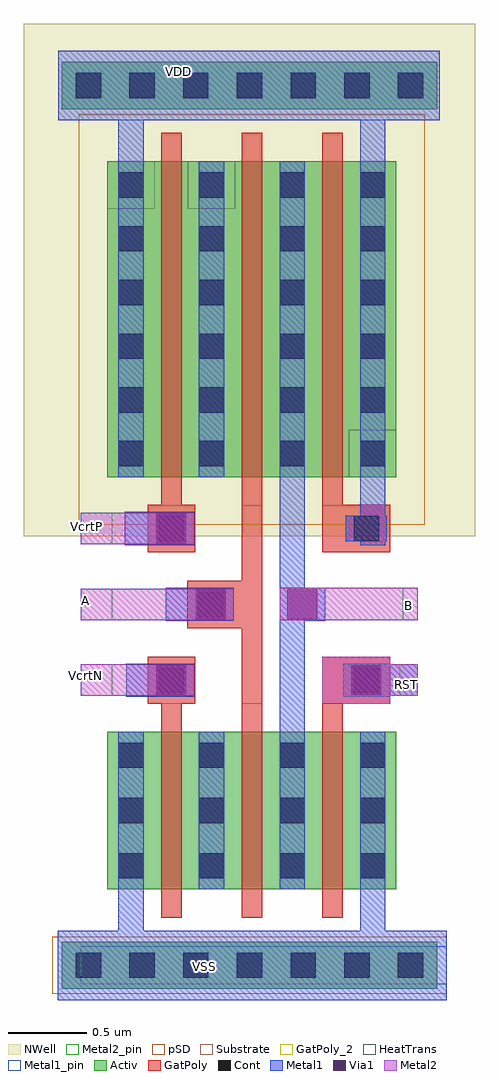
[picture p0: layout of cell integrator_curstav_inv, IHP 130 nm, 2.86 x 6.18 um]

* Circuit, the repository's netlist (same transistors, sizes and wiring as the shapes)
** sch_path: /foss/designs/chipathon_2025/designs/ihp-sg13g2/integrator_curstav_inv/xschem/integrator_curstav_inv.sch
.subckt integrator_curstav_inv VDD VcrtP A B VcrtN VSS RST
*.PININFO VDD:I VSS:I A:I B:O VcrtP:I VcrtN:I RST:I
M1 B A net2 VSS sg13_lv_nmos w=1.0u l=0.13u ng=1 m=1
M2 net2 VcrtN VSS VSS sg13_lv_nmos w=1.0u l=0.13u ng=1 m=1
M3 B A net1 VDD sg13_lv_pmos w=2u l=0.13u ng=1 m=1
M4 net1 VcrtP VDD VDD sg13_lv_pmos w=2u l=0.13u ng=1 m=1
M5 B VDD VDD VDD sg13_lv_pmos w=2u l=0.13u ng=1 m=1
M6 B RST VSS VSS sg13_lv_nmos w=1.0u l=0.13u ng=1 m=1
.ends

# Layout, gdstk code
from math import pi, radians
import gdstk
lib = gdstk.Library(unit=1e-6, precision=1e-09)
def R(c, l, rs):  # rectangles x0, y0, x1, y1
    for r in rs: c.add(gdstk.rectangle(r[:2], r[2:], *l))
def A(c, l, x, y, w, h, nx, ny, dx, dy):  # array of equal rectangles
    R(c, l, [(x+i*dx, y+j*dy, x+i*dx+w, y+j*dy+h) for i in range(nx) for j in range(ny)])
Activ = (1, 0)
GatPoly = (5, 0)
GatPoly_2 = (5, 2)
Cont = (6, 0)
Metal1 = (8, 0)
Metal1_pin = (8, 2)
Metal2 = (10, 0)
Metal2_pin = (10, 2)
pSD = (14, 0)
Via1 = (19, 0)
NWell = (31, 0)
Substrate = (40, 0)
HeatTrans = (51, 0)

via_stack_8 = lib.new_cell('via_stack$8')
R(via_stack_8, Metal1, [(-0.145,-0.105,0.145,0.105)])
R(via_stack_8, Metal2, [(-0.145,-0.1,0.145,0.1)])
R(via_stack_8, Via1, [(-0.095,-0.095,0.095,0.095)])

nmos_3 = lib.new_cell('nmos$3')
R(nmos_3, Activ, [(0,0,0.3,0.3), (0,0,0.81,1), (0.51,0,0.81,0.3)])
R(nmos_3, GatPoly, [(0.34,-0.18,0.47,1.18)])
R(nmos_3, GatPoly_2, [(0.34,-0.18,0.47,1.18)])
A(nmos_3, Cont, 0.07, 0.07, 0.16, 0.16, 1, 3, 0, 0.35)
A(nmos_3, Cont, 0.58, 0.07, 0.16, 0.16, 1, 3, 0, 0.35)
R(nmos_3, Metal1, [(0.07,0,0.23,1), (0.58,0,0.74,1)])
R(nmos_3, Metal1_pin, [(0.07,0,0.23,1), (0.58,0,0.74,1)])
R(nmos_3, HeatTrans, [(0.34,-0.18,0.47,1.18)])
nmos_3.add(gdstk.Label('nmos', (0.405,0.5), layer=63, texttype=0))
nmos_3.add(gdstk.Label('nmos', (0.405,0.5), layer=51, texttype=0))

via_stack_10 = lib.new_cell('via_stack$10')
R(via_stack_10, GatPoly, [(-0.15,-0.15,0.15,0.15)])
R(via_stack_10, Cont, [(-0.08,-0.08,0.08,0.08)])
R(via_stack_10, Metal1, [(-0.145,-0.105,0.145,0.105)])
R(via_stack_10, Metal2, [(-0.145,-0.1,0.145,0.1)])
R(via_stack_10, Via1, [(-0.095,-0.095,0.095,0.095)])

pmos_3 = lib.new_cell('pmos$3')
R(pmos_3, Activ, [(0,0,0.3,0.3), (0,0,0.81,2), (0.51,0,0.81,0.3)])
R(pmos_3, GatPoly, [(0.34,-0.18,0.47,2.18), (0.34,-0.18,0.47,2.18)])
A(pmos_3, Cont, 0.07, 0.07, 0.16, 0.16, 1, 6, 0, 0.34)
A(pmos_3, Cont, 0.58, 0.07, 0.16, 0.16, 1, 6, 0, 0.34)
R(pmos_3, Metal1, [(0.07,0,0.23,2), (0.07,0,0.23,2), (0.58,0,0.74,2), (0.58,0,0.74,2)])
R(pmos_3, pSD, [(-0.18,-0.3,0.99,2.3)])
R(pmos_3, NWell, [(-0.31,-0.31,1.12,2.31)])
R(pmos_3, Substrate, [(0.51,0,0.81,0.3)])
R(pmos_3, HeatTrans, [(0.34,-0.18,0.47,2.18)])
pmos_3.add(gdstk.Label('pmos', (0.405,1), layer=63, texttype=0))
pmos_3.add(gdstk.Label('pmos', (0.405,1), layer=51, texttype=0))

via_stack_9 = lib.new_cell('via_stack$9')
R(via_stack_9, GatPoly, [(-0.15,-0.15,0.15,0.15)])
R(via_stack_9, Cont, [(-0.08,-0.08,0.08,0.08)])
R(via_stack_9, Metal1, [(-0.145,-0.105,0.145,0.105)])
R(via_stack_9, Metal2, [(-0.145,-0.1,0.145,0.1)])
R(via_stack_9, Via1, [(-0.095,-0.095,0.095,0.095)])

via_stack = lib.new_cell('via_stack')
R(via_stack, GatPoly, [(-0.15,-0.15,0.15,0.15)])
R(via_stack, Cont, [(-0.08,-0.08,0.08,0.08)])
R(via_stack, Metal1, [(-0.13,-0.08,0.13,0.08)])

integrator_curstav_inv = lib.new_cell('integrator_curstav_inv')
R(integrator_curstav_inv, Activ, [(0.295,0.05,2.675,0.35), (0.295,5.62,2.675,5.92)])
R(integrator_curstav_inv, GatPoly, [(1.435,1.85,1.565,3.11), (1.945,1.86,2.075,2.155), (1.39,2.335,1.435,2.635), (1.945,2.815,2.075,3.11)])
A(integrator_curstav_inv, Cont, 0.385, 0.12, 0.16, 0.16, 7, 2, 0.34, 5.57)
R(integrator_curstav_inv, Metal1, [(0.655,0.42,0.815,0.68), (2.185,0.42,2.345,0.68), (1.675,1.68,1.835,3.29), (0.705,1.9,1.135,2.11), (2.08,1.905,2.55,2.105), (0.955,2.38,1.385,2.59), (0.695,2.86,1.125,3.07), (2.185,2.86,2.345,3.29), (0.655,5.225,0.815,5.55), (2.185,5.29,2.345,5.55)])
R(integrator_curstav_inv, Metal1_pin, [(0.415,0.08,2.735,0.32), (0.275,5.55,2.69,5.99)])
R(integrator_curstav_inv, Metal2, [(1.945,1.855,2.375,2.155), (0.415,1.905,0.845,2.105), (2.08,1.905,2.55,2.105), (0.415,2.385,1.14,2.585), (1.675,2.385,2.55,2.59), (0.415,2.865,0.845,3.065)])
A(integrator_curstav_inv, Metal2_pin, 0.415, 1.905, 0.2, 0.2, 1, 3, 0, 0.48)
R(integrator_curstav_inv, Metal2_pin, [(2.435,1.905,2.55,2.105), (2.455,2.385,2.55,2.59)])
R(integrator_curstav_inv, pSD, [(0.235,0.02,2.735,0.38)])
R(integrator_curstav_inv, NWell, [(0.055,2.915,2.915,6.16)])
integrator_curstav_inv.add(gdstk.FlexPath([(0.27,0.2),(2.735,0.2)], 0.44, ends="flush", simple_path=True, layer=8, datatype=0))  # Metal1
integrator_curstav_inv.add(gdstk.FlexPath([(0.275,5.77),(2.69,5.77)], 0.44, ends="flush", simple_path=True, layer=8, datatype=0))  # Metal1
integrator_curstav_inv.add(gdstk.Reference(via_stack_8, (1.82,2.485), rotation=pi))
integrator_curstav_inv.add(gdstk.Reference(nmos_3, (1.905,1.68), rotation=pi))
integrator_curstav_inv.add(gdstk.Reference(nmos_3, (1.395,1.68), rotation=pi))
integrator_curstav_inv.add(gdstk.Reference(via_stack_10, (1.24,2.485), rotation=pi))
integrator_curstav_inv.add(gdstk.Reference(pmos_3, (1.905,5.29), rotation=pi))
integrator_curstav_inv.add(gdstk.Reference(via_stack_9, (0.99,2.965)))
integrator_curstav_inv.add(gdstk.Reference(pmos_3, (1.395,5.29), rotation=pi))
integrator_curstav_inv.add(gdstk.Reference(pmos_3, (1.905,5.29), rotation=pi))
integrator_curstav_inv.add(gdstk.Reference(pmos_3, (1.605,3.29)))
integrator_curstav_inv.add(gdstk.Reference(nmos_3, (1.605,0.68)))
integrator_curstav_inv.add(gdstk.Reference(via_stack, (2.225,2.965)))
integrator_curstav_inv.add(gdstk.Reference(via_stack_9, (0.99,2.005), rotation=pi))
integrator_curstav_inv.add(gdstk.Reference(via_stack_9, (2.225,2.005), rotation=pi))
integrator_curstav_inv.add(gdstk.Label('B', (2.491,2.481), layer=10, texttype=25))
integrator_curstav_inv.add(gdstk.Label('RST', (2.481,1.976), layer=10, texttype=25))
integrator_curstav_inv.add(gdstk.Label('VcrtN', (0.445,2.035), layer=10, texttype=25))
integrator_curstav_inv.add(gdstk.Label('VcrtP', (0.45,2.98), layer=10, texttype=25))
integrator_curstav_inv.add(gdstk.Label('A', (0.445,2.51), layer=10, texttype=25))
integrator_curstav_inv.add(gdstk.Label('VSS', (1.202,0.192), layer=8, texttype=25))
integrator_curstav_inv.add(gdstk.Label('VDD', (1.034,5.859), layer=8, texttype=25))

lib.write_gds('integrator_curstav_inv.gds')
